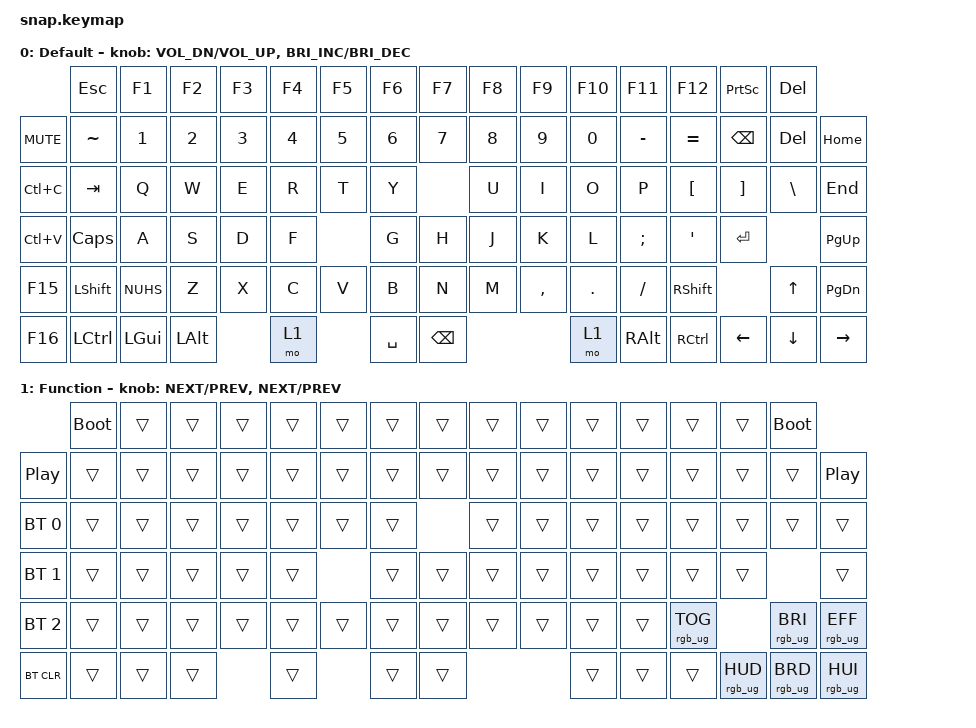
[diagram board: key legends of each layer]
/*
 * Copyright (c) 2022 The ZMK Contributors
 *
 * SPDX-License-Identifier: MIT
 */

#include <behaviors.dtsi>
#include <dt-bindings/zmk/keys.h>
#include <dt-bindings/zmk/rgb.h>
#include <dt-bindings/zmk/rgb.h>
#include <dt-bindings/zmk/bt.h>

&left_encoder {
    steps = <80>;
};

&right_encoder {
    steps = <80>;
};

/ {
    sensors {
        compatible = "zmk,keymap-sensors";
        sensors = <&left_encoder &right_encoder>;
        triggers-per-rotation = <20>;
    };

    keymap {
        compatible = "zmk,keymap";

        default_layer {
            label = "Default";
            sensor-bindings = <&inc_dec_kp C_VOL_DN C_VOL_UP &inc_dec_kp C_BRI_INC C_BRI_DEC>;
            bindings = <
             &kp ESC     &kp F1   &kp F2   &kp F3   &kp F4   &kp F5   &kp F6     &kp F7   &kp F8   &kp F9    &kp F10  &kp F11     &kp F12     &kp PSCRN   &kp DEL
&kp C_MUTE   &kp TILDE   &kp N1   &kp N2   &kp N3   &kp N4   &kp N5   &kp N6     &kp N7   &kp N8   &kp N9    &kp N0   &kp MINUS   &kp EQUAL   &kp BSPC     &kp DEL    &kp HOME
&kp LC(C)      &kp TAB     &kp Q    &kp W    &kp E    &kp R             &kp T      &kp Y    &kp U    &kp I     &kp O    &kp P       &kp LBKT    &kp RBKT     &kp BSLH   &kp END
&kp LC(V)     &kp CLCK    &kp A    &kp S    &kp D    &kp F             &kp G      &kp H    &kp J    &kp K     &kp L    &kp SEMI    &kp SQT     &kp RET                 &kp PG_UP
&kp F15      &kp LSHFT   &kp NUHS &kp Z    &kp X    &kp C    &kp V    &kp B      &kp N    &kp M    &kp COMMA &kp DOT  &kp FSLH    &kp RSHFT                &kp UP     &kp PG_DN
&kp F16      &kp LCTRL   &kp LGUI &kp LALT          &mo 1            &kp SPACE    &kp BSPC                   &mo 1    &kp RALT    &kp RCTRL   &kp LEFT     &kp DOWN   &kp RIGHT
            >;
        };

        function_layer {
            label = "Function";
            sensor-bindings = <&inc_dec_kp C_NEXT C_PREV &inc_dec_kp C_NEXT C_PREV>;
            bindings = <
             &bootloader &trans   &trans   &trans   &trans   &trans   &trans     &trans   &trans   &trans   &trans    &trans      &trans      &trans       &bootloader
&kp C_PP     &trans      &trans   &trans   &trans   &trans   &trans   &trans     &trans   &trans   &trans   &trans    &trans      &trans      &trans       &trans     &kp C_PP
&bt BT_SEL 0       &trans      &trans   &trans   &trans   &trans            &trans     &trans   &trans   &trans   &trans    &trans      &trans      &trans       &trans     &trans
&bt BT_SEL 1       &trans      &trans   &trans   &trans   &trans            &trans     &trans   &trans   &trans   &trans    &trans      &trans                   &trans     &trans
&bt BT_SEL 2       &trans      &trans   &trans   &trans   &trans   &trans   &trans     &trans   &trans   &trans   &trans    &trans          &rgb_ug RGB_TOG &rgb_ug RGB_BRI &rgb_ug RGB_EFF
&bt BT_CLR       &trans      &trans   &trans            &trans           &trans       &trans                    &trans    &trans  &trans  &rgb_ug RGB_HUD &rgb_ug RGB_BRD &rgb_ug RGB_HUI
            >;
        };
    };
};
